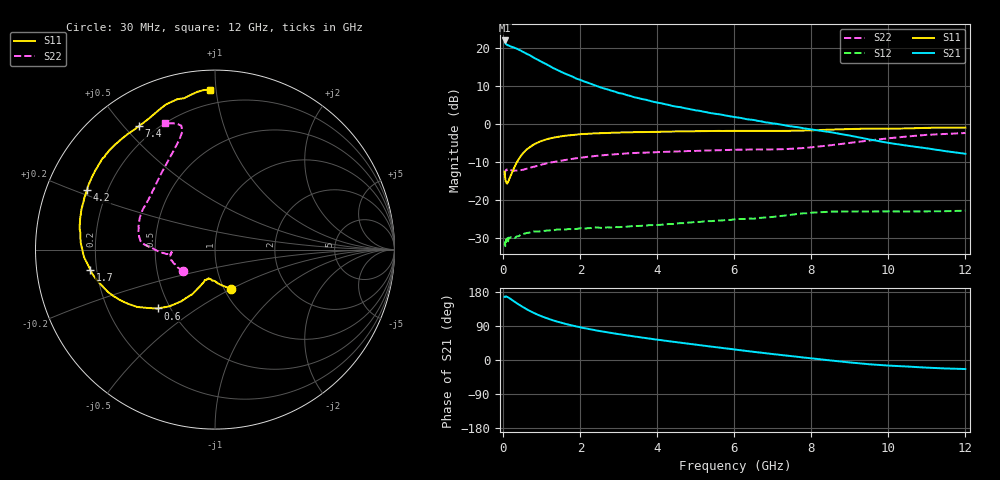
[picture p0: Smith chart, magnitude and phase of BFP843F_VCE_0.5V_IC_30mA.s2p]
! Infineon Technologies  Discrete & RF Semiconductors
! BFP843F
! VCE =  0.5 V,  IC =  30 mA
! Common Emitter S-Parameters:  Aug 2013
# GHz  S  MA  R  50
!  f  S11  S21  S12  S22
! GHz  MAG  ANG  MAG  ANG  MAG  ANG  MAG  ANG
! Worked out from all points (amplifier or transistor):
!   103 points, 30 MHz to 12 GHz, reference 50 ohm
!   highest |S21| = 21.9 dB at 30 MHz (marker M1)
!   |S21| within 3 dB of that: start of sweep to 508 MHz
!   unconditionally stable (mu >= 1): start of sweep to end of sweep
!   at 400 MHz: K = 1.49, MAG = 20.3 dB, |S12| = -29.5 dB
!   at 3.7 GHz: K = 1.80, MAG = 11.3 dB, |S12| = -26.7 dB
!   at 12 GHz: K = 2.06, MAG = 1.6 dB, |S12| = -22.8 dB
!   S11 on the Smith chart (normalised r, x): 30 MHz: 1.07, -0.50; 600 MHz: 0.43, -0.35; 1.7 GHz: 0.17, -0.08; 4.2 GHz: 0.13, +0.22; 7.4 GHz: 0.14, +0.55; 12 GHz: 0.11, +0.96
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0.03  0.2351 -68.2  12.42 166.5  0.0255 27.6  0.2118 -146.0
0.04  0.2041 -78.6  11.8 166.3  0.0279 24.2  0.2299 -154.0
0.05  0.1884 -85.2  11.42 167.8  0.0247 20.8  0.2374 -160.1
0.1  0.1637 -102.7  10.76 166.4  0.0314 14.3  0.2485 -170.9
0.13  0.1761 -106.4  10.71 164.8  0.0312 9.5  0.2495 -173.5
0.35  0.3124 -120.7  9.687 149.6  0.0333 12.2  0.2431 -176.6
0.45  0.3752 -126.2  9.145 143.2  0.035 12.1  0.2462 -175.2
0.6  0.4584 -134.3  8.322 134.1  0.0368 12.6  0.2566 -174.4
0.7  0.4993 -139.4  7.871 128.7  0.0373 12.6  0.2654 -174.8
0.8  0.5395 -143.7  7.319 123.7  0.0386 12.3  0.2734 -174.7
1.1  0.6199 -155.1  6.106 111.2  0.0394 11.9  0.3004 -176.9
1.3  0.6568 -161.5  5.364 104.2  0.0399 12.2  0.3146 -178.1
1.7  0.7046 -170.9  4.351 93.1  0.0415 12.1  0.3404 179.4
2.1  0.7355 -178.4  3.586 84.0  0.042 12.9  0.3628 177.7
3  0.7671 168.9  2.526 68.2  0.0439 14.4  0.4011 175.3
4.1  0.7851 156.1  1.858 52.3  0.0472 17.1  0.425 171.1
4.2  0.7856 154.9  1.809 50.9  0.0476 17.4  0.428 170.6
6.1  0.8073 135.8  1.207 26.5  0.0561 18.4  0.4566 155.5
7.4  0.8076 121.6  0.935 11.1  0.063 18.9  0.4672 140.9
8.5  0.8378 112.0  0.775 -1.2  0.0701 13.3  0.5226 124.5
10.5  0.8693 99.6  0.515 -17.3  0.0706 7.0  0.6821 105.5
12  0.8898 91.8  0.404 -23.8  0.0723 8.0  0.7565 111.7
